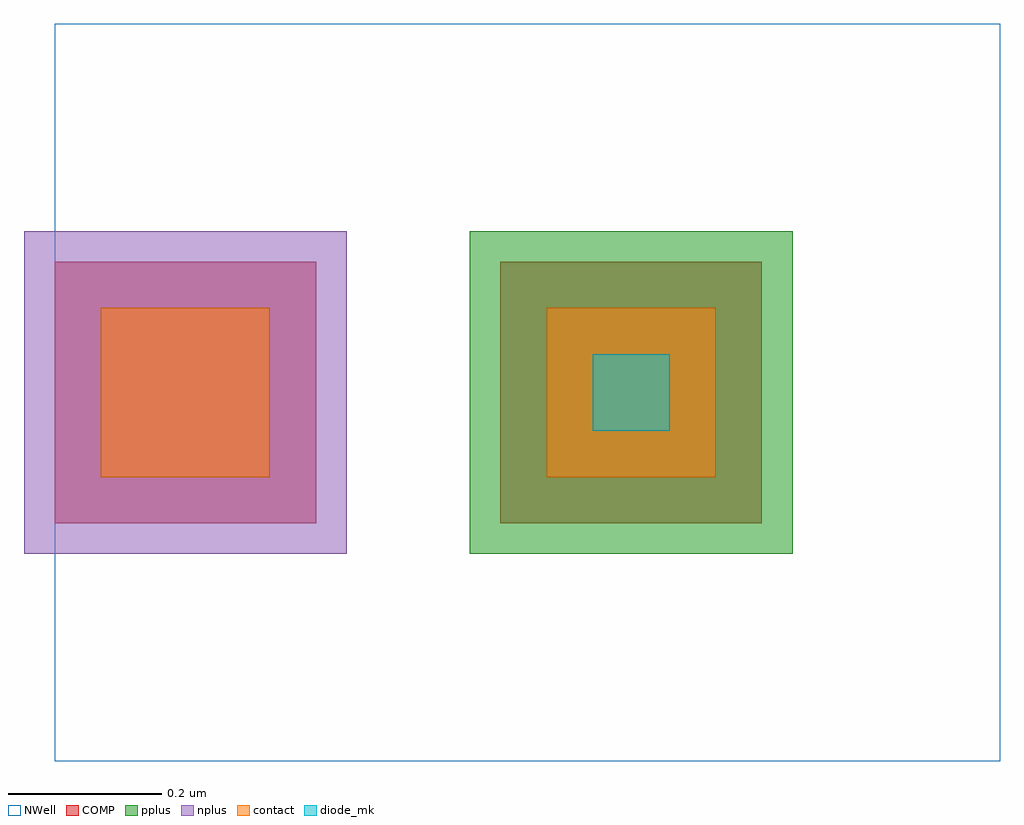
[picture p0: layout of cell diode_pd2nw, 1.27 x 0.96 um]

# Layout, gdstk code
import gdstk
lib = gdstk.Library(unit=1e-6, precision=1e-09)
def R(c, l, rs):  # rectangles x0, y0, x1, y1
    for r in rs: c.add(gdstk.rectangle(r[:2], r[2:], *l))
NWell = (21, 0)
COMP = (22, 0)
pplus = (31, 0)
nplus = (32, 0)
contact = (33, 0)
diode_mk = (115, 5)

compass_5c90cb24 = lib.new_cell('compass_5c90cb24')
R(compass_5c90cb24, COMP, [(-0.05,-0.05,0.05,0.05)])

rectangle_5c90cb24 = lib.new_cell('rectangle_5c90cb24')
rectangle_5c90cb24.add(gdstk.Reference(compass_5c90cb24, (0.05,0.05)))

compass_cc04d52f = lib.new_cell('compass_cc04d52f')
R(compass_cc04d52f, pplus, [(-0.21,-0.21,0.21,0.21)])

rectangle_cc04d52f = lib.new_cell('rectangle_cc04d52f')
rectangle_cc04d52f.add(gdstk.Reference(compass_cc04d52f, (0.21,0.21)))

compass_cacfdad8 = lib.new_cell('compass_cacfdad8')
R(compass_cacfdad8, diode_mk, [(-0.05,-0.05,0.05,0.05)])

rectangle_cacfdad8 = lib.new_cell('rectangle_cacfdad8')
rectangle_cacfdad8.add(gdstk.Reference(compass_cacfdad8, (0.05,0.05)))

compass_f38dc993 = lib.new_cell('compass_f38dc993')
R(compass_f38dc993, contact, [(-0.11,-0.11,0.11,0.11)])

rectangle_f38dc993 = lib.new_cell('rectangle_f38dc993')
rectangle_f38dc993.add(gdstk.Reference(compass_f38dc993, (0.11,0.11)))

via_generator_fb634f5e = lib.new_cell('via_generator_fb634f5e')
r = gdstk.Reference(rectangle_f38dc993, (-0.06,-0.06)); r.repetition = gdstk.Repetition(1, 1, v1=(0.5,0), v2=(0,0.5)); via_generator_fb634f5e.add(r)

compass_9deecdff = lib.new_cell('compass_9deecdff')
R(compass_9deecdff, COMP, [(-0.17,-0.17,0.17,0.17)])

rectangle_9deecdff = lib.new_cell('rectangle_9deecdff')
rectangle_9deecdff.add(gdstk.Reference(compass_9deecdff, (0.17,0.17)))

via_stack_702b90f4 = lib.new_cell('via_stack_702b90f4')
via_stack_702b90f4.add(gdstk.Reference(via_generator_fb634f5e, (0,0)))
via_stack_702b90f4.add(gdstk.Reference(rectangle_9deecdff, (-0.12,-0.12)))

compass_4bdc5092 = lib.new_cell('compass_4bdc5092')
R(compass_4bdc5092, nplus, [(-0.21,-0.21,0.21,0.21)])

rectangle_4bdc5092 = lib.new_cell('rectangle_4bdc5092')
rectangle_4bdc5092.add(gdstk.Reference(compass_4bdc5092, (0.21,0.21)))

via_generator_9f1fa7ac = lib.new_cell('via_generator_9f1fa7ac')
r = gdstk.Reference(rectangle_f38dc993, (-0.64,-0.06)); r.repetition = gdstk.Repetition(1, 1, v1=(0.5,0), v2=(0,0.5)); via_generator_9f1fa7ac.add(r)

via_stack_7e13ea88 = lib.new_cell('via_stack_7e13ea88')
via_stack_7e13ea88.add(gdstk.Reference(via_generator_9f1fa7ac, (0,0)))
via_stack_7e13ea88.add(gdstk.Reference(rectangle_9deecdff, (-0.7,-0.12)))

compass_e5871c34 = lib.new_cell('compass_e5871c34')
R(compass_e5871c34, NWell, [(-0.615,-0.48,0.615,0.48)])

rectangle_e5871c34 = lib.new_cell('rectangle_e5871c34')
rectangle_e5871c34.add(gdstk.Reference(compass_e5871c34, (0.615,0.48)))

diode_pd2nw = lib.new_cell('diode_pd2nw')
diode_pd2nw.add(gdstk.Reference(rectangle_5c90cb24, (0,0)))
diode_pd2nw.add(gdstk.Reference(rectangle_cc04d52f, (-0.16,-0.16)))
diode_pd2nw.add(gdstk.Reference(rectangle_cacfdad8, (0,0)))
diode_pd2nw.add(gdstk.Reference(via_stack_702b90f4, (0,0)))
diode_pd2nw.add(gdstk.Reference(rectangle_5c90cb24, (-0.58,0)))
diode_pd2nw.add(gdstk.Reference(rectangle_4bdc5092, (-0.74,-0.16)))
diode_pd2nw.add(gdstk.Reference(via_stack_7e13ea88, (0,0)))
diode_pd2nw.add(gdstk.Reference(rectangle_e5871c34, (-0.7,-0.43)))

lib.write_gds('diode_pd2nw.gds')
